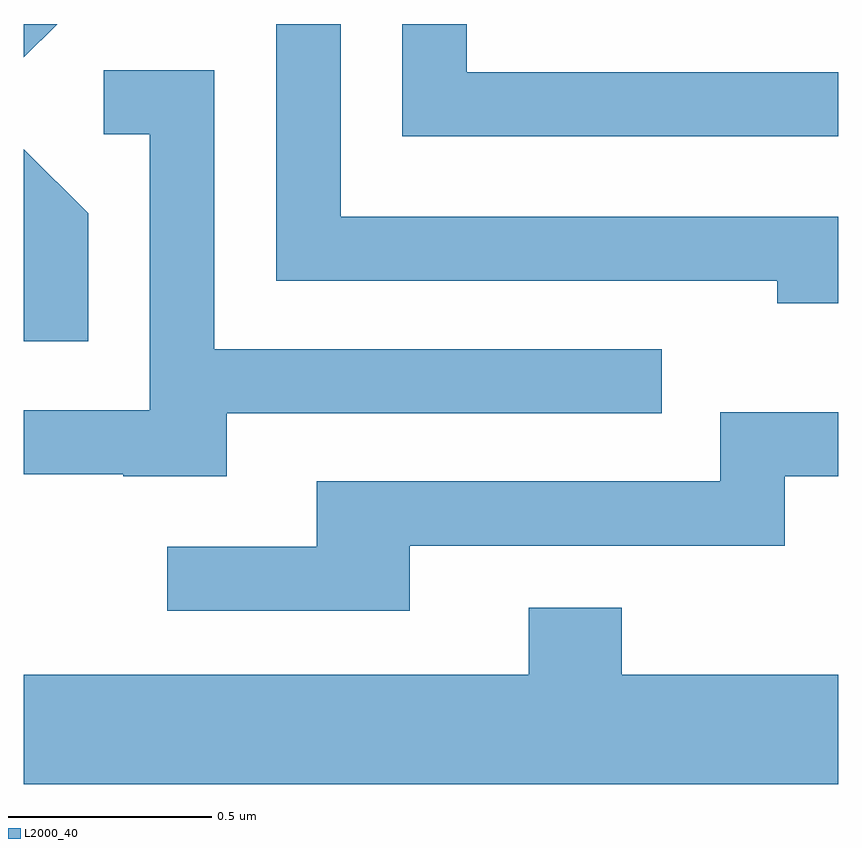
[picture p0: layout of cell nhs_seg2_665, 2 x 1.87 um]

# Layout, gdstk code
import gdstk
lib = gdstk.Library(unit=1e-6, precision=1e-09)
def P(c, l, *ps):  # polygons
    for p in ps: c.add(gdstk.Polygon(p, *l))
L2000_40 = (2000, 40)

nhs_seg2_665 = lib.new_cell('nhs_seg2_665')
P(nhs_seg2_665, L2000_40, [(189.693,1096.802),(189.611,1096.802),(189.611,1096.72)],
  [(191.611,1096.329),(190.389,1096.329),(190.389,1096.802),(190.231,1096.802),(190.231,1096.171),(191.461,1096.171),(191.461,1096.116),(191.611,1096.116)],
  [(191.611,1096.684),(190.699,1096.684),(190.699,1096.802),(190.541,1096.802),(190.541,1096.526),(191.611,1096.526)],
  [(190.109,1095.846),(191.178,1095.846),(191.178,1096.004),(190.079,1096.004),(190.079,1096.689),(189.808,1096.689),(189.808,1096.531),(189.921,1096.531),(189.921,1095.854),(189.611,1095.854),(189.611,1095.696),(189.855,1095.696),(189.855,1095.691),(190.109,1095.691)],
  [(189.769,1096.337),(189.611,1096.495),(189.611,1096.023),(189.769,1096.023)],
  [(190.559,1095.521),(191.479,1095.521),(191.479,1095.691),(191.611,1095.691),(191.611,1095.849),(191.321,1095.849),(191.321,1095.679),(190.331,1095.679),(190.331,1095.519),(189.963,1095.519),(189.963,1095.361),(190.559,1095.361)],
  [(191.611,1095.204),(191.079,1095.204),(191.079,1095.369),(190.851,1095.369),(190.851,1095.204),(189.611,1095.204),(189.611,1094.936),(191.611,1094.936)])

lib.write_gds('nhs_seg2_665.gds')
